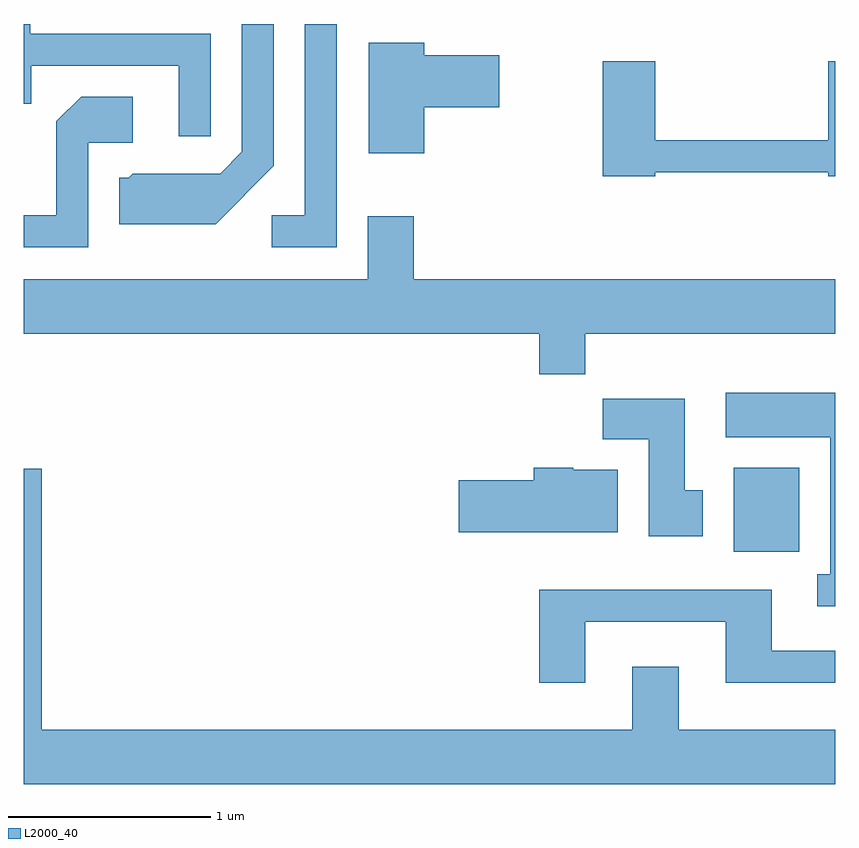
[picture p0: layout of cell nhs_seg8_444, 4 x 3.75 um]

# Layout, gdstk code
import gdstk
lib = gdstk.Library(unit=1e-6, precision=1e-09)
def R(c, l, rs):  # rectangles x0, y0, x1, y1
    for r in rs: c.add(gdstk.rectangle(r[:2], r[2:], *l))
def P(c, l, *ps):  # polygons
    for p in ps: c.add(gdstk.Polygon(p, *l))
L2000_40 = (2000, 40)

nhs_seg8_444 = lib.new_cell('nhs_seg8_444')
R(nhs_seg8_444, L2000_40, [(201.111,1879.741,201.434,1880.154)])
P(nhs_seg8_444, L2000_40, [(198.844,1881.644),(198.844,1882.342),(198.686,1882.342),(198.686,1881.712),(198.579,1881.604),(198.149,1881.604),(198.129,1881.584),(198.081,1881.584),(198.081,1881.356),(198.557,1881.356)],
  [(199.154,1882.342),(198.996,1882.342),(198.996,1881.399),(198.833,1881.399),(198.833,1881.241),(199.154,1881.241)],
  [(198.534,1882.294),(197.644,1882.294),(197.644,1882.342),(197.611,1882.342),(197.611,1881.948),(197.649,1881.948),(197.649,1882.136),(198.376,1882.136),(198.376,1881.788),(198.534,1881.788)],
  [(199.584,1881.931),(199.954,1881.931),(199.954,1882.189),(199.584,1882.189),(199.584,1882.249),(199.311,1882.249),(199.311,1881.706),(199.584,1881.706)],
  [(200.724,1881.611),(201.576,1881.611),(201.576,1881.591),(201.611,1881.591),(201.611,1882.159),(201.576,1882.159),(201.576,1881.769),(200.724,1881.769),(200.724,1882.159),(200.466,1882.159),(200.466,1881.591),(200.724,1881.591)],
  [(197.929,1881.756),(198.149,1881.756),(198.149,1881.984),(197.894,1881.984),(197.771,1881.862),(197.771,1881.399),(197.611,1881.399),(197.611,1881.241),(197.929,1881.241)],
  [(200.379,1880.816),(201.611,1880.816),(201.611,1881.084),(199.534,1881.084),(199.534,1881.394),(199.306,1881.394),(199.306,1881.084),(197.611,1881.084),(197.611,1880.816),(200.151,1880.816),(200.151,1880.616),(200.379,1880.616)],
  [(201.611,1880.524),(201.071,1880.524),(201.071,1880.306),(201.586,1880.306),(201.586,1879.629),(201.523,1879.629),(201.523,1879.471),(201.611,1879.471)],
  [(200.959,1880.044),(200.869,1880.044),(200.869,1880.494),(200.466,1880.494),(200.466,1880.296),(200.691,1880.296),(200.691,1879.816),(200.959,1879.816)],
  [(200.539,1880.144),(200.32,1880.144),(200.32,1880.154),(200.126,1880.154),(200.126,1880.094),(199.756,1880.094),(199.756,1879.836),(200.539,1879.836)],
  [(201.611,1878.864),(200.839,1878.864),(200.839,1879.174),(200.611,1879.174),(200.611,1878.864),(197.699,1878.864),(197.699,1880.149),(197.611,1880.149),(197.611,1878.596),(201.611,1878.596)],
  [(200.379,1879.396),(201.071,1879.396),(201.071,1879.096),(201.611,1879.096),(201.611,1879.254),(201.299,1879.254),(201.299,1879.554),(200.151,1879.554),(200.151,1879.096),(200.379,1879.096)])

lib.write_gds('nhs_seg8_444.gds')
